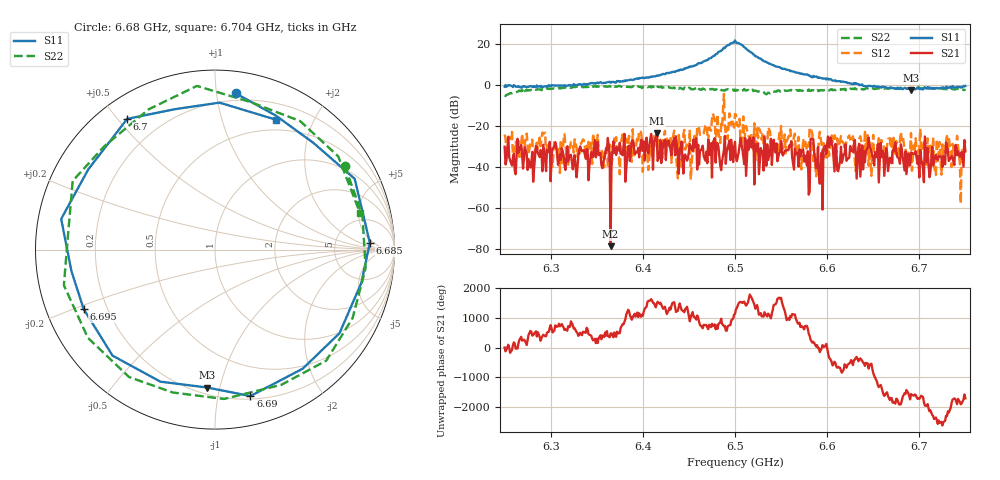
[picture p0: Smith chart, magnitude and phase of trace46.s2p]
# Hz S RI R 50
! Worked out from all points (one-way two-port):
!   401 points, 6.25 GHz to 6.75 GHz, reference 50 ohm
!   highest |S21| = -23.15 dB at 6.415 GHz (marker M1); lowest = -78.5 dB at 6.365 GHz (marker M2)
!   lowest |S11| = -2.3 dB at 6.691 GHz (marker M3), VSWR 7.68, Z = 12.1 - j45.8 ohm
!   |S11| at or under -10 dB: nowhere
!   |S22| runs from -5.1 to -0.1 dB; largest |S21 - S12| = 0.64
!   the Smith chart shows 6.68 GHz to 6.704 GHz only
!   S11 on the Smith chart (normalised r, x): 6.68 GHz: 0.15, +1.13; 6.685 GHz: 13, +4; 6.69 GHz: 0.23, -1.25; 6.695 GHz: 0.11, -0.21; 6.7 GHz: 0.08, +0.53; 6.704 GHz: 0.38, +1.51
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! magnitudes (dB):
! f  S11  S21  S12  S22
! 6.25 GHz  -0.6  -29.9  -24.0  -5.1
! 6.334 GHz  0.1  -32.2  -27.4  -0.6
! 6.365 GHz  1.3  -78.5  -29.8  -0.6
! 6.415 GHz  4.8  -23.2  -30.4  -1.1
! 6.418 GHz  5.0  -34.8  -30.1  -0.8
! 6.5 GHz  21.9  -27.5  -14.0  -2.0
! 6.559 GHz  7.4  -29.2  -24.9  -2.4
! 6.579 GHz  5.2  -32.1  -29.2  -2.6
! 6.584 GHz  3.9  -26.1  -23.7  -2.3
! 6.588 GHz  4.3  -40.5  -44.3  -2.1
! 6.594 GHz  3.5  -32.8  -29.1  -2.3
! 6.606 GHz  2.4  -30.0  -28.1  -2.3
! 6.668 GHz  -1.4  -35.3  -25.8  -1.0
! 6.68 GHz  -1.1  -28.8  -22.7  -1.3
! 6.685 GHz  -1.3  -32.2  -30.3  -1.2
! 6.69 GHz  -1.5  -39.0  -32.7  -1.3
! 6.691 GHz  -2.3  -32.7  -23.3  -1.3
! 6.695 GHz  -1.9  -33.1  -32.7  -1.1
! 6.7 GHz  -1.1  -44.9  -30.5  -1.5
! 6.704 GHz  -1.9  -40.3  -32.1  -1.6
! 6.745 GHz  -1.0  -33.2  -57.7  -2.1
! 6.75 GHz  -0.3  -32.2  -28.1  -2.6
